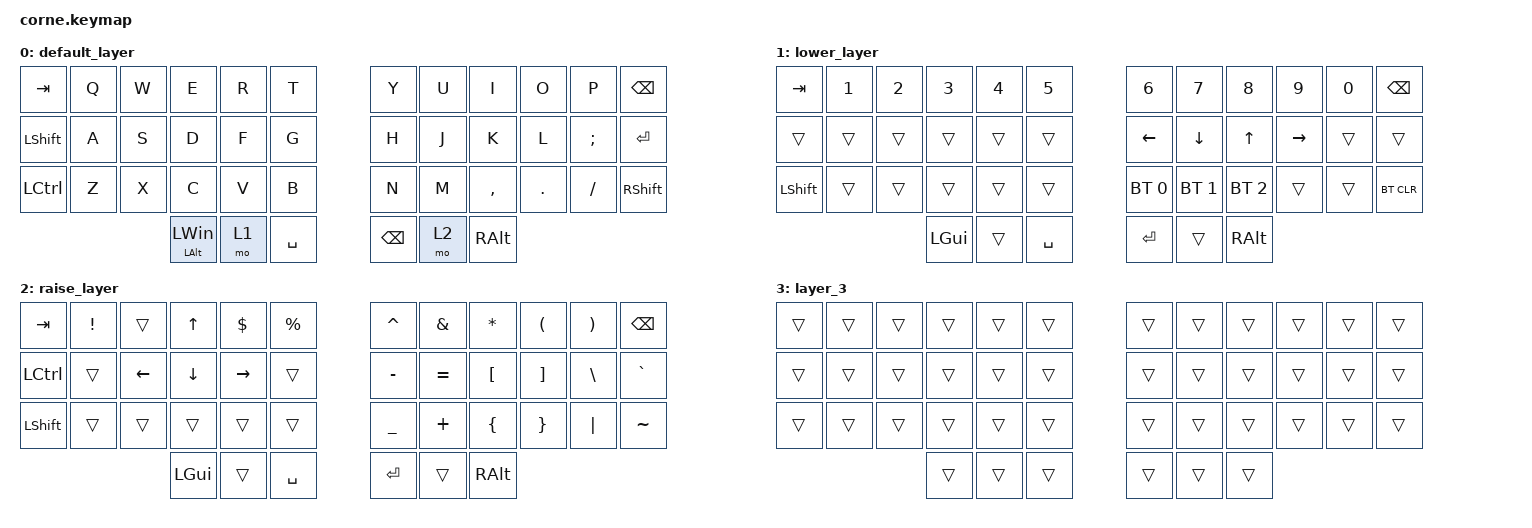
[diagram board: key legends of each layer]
/*
 * Copyright (c) 2020 The ZMK Contributors
 *
 * SPDX-License-Identifier: MIT
 */

#include <behaviors.dtsi>
#include <dt-bindings/zmk/bt.h>
#include <dt-bindings/zmk/keys.h>

/ {
    combos {
        compatible = "zmk,combos";

        Escape {
            bindings = <&kp ESC>;
            key-positions = <0 1>;
        };

        BootRight {
            bindings = <&bootloader>;
            key-positions = <11 23 35>;
        };

        BootLeft {
            bindings = <&bootloader>;
            key-positions = <0 12 24>;
        };
    };

    keymap {
        compatible = "zmk,keymap";

        default_layer {
            // -----------------------------------------------------------------------------------------
            // |  TAB |  Q  |  W  |  E  |  R  |  T  |   |  Y  |  U   |  I  |  O  |  P  | BSPC |
            // | CTRL |  A  |  S  |  D  |  F  |  G  |   |  H  |  J   |  K  |  L  |  ;  |  '   |
            // | SHFT |  Z  |  X  |  C  |  V  |  B  |   |  N  |  M   |  ,  |  .  |  /  | ESC  |
            //                    | GUI | LWR | SPC |   | ENT | RSE  | ALT |

            bindings = <
&kp TAB         &kp Q  &kp W  &kp E                  &kp R  &kp T        &kp Y          &kp U  &kp I      &kp O    &kp P          &kp BSPC
&kp LEFT_SHIFT  &kp A  &kp S  &kp D                  &kp F  &kp G        &kp H          &kp J  &kp K      &kp L    &kp SEMICOLON  &kp ENTER
&kp LCTRL       &kp Z  &kp X  &kp C                  &kp V  &kp B        &kp N          &kp M  &kp COMMA  &kp DOT  &kp FSLH       &kp RIGHT_SHIFT
                              &mt LEFT_ALT LEFT_WIN  &mo 1  &kp SPACE    &kp BACKSPACE  &mo 2  &kp RALT
            >;
        };

        lower_layer {
            // -----------------------------------------------------------------------------------------
            // |  TAB |  1  |  2  |  3  |  4  |  5  |   |  6  |  7  |  8  |  9  |  0  | BSPC |
            // | BTCLR| BT1 | BT2 | BT3 | BT4 | BT5 |   | LFT | DWN |  UP | RGT |     |      |
            // | SHFT |     |     |     |     |     |   |     |     |     |     |     |      |
            //                    | GUI |     | SPC |   | ENT |     | ALT |

            bindings = <
&kp TAB    &kp N1  &kp N2  &kp N3    &kp N4  &kp N5       &kp N6        &kp N7        &kp N8        &kp N9     &kp N0  &kp BSPC
&trans     &trans  &trans  &trans    &trans  &trans       &kp LEFT      &kp DOWN      &kp UP        &kp RIGHT  &trans  &trans
&kp LSHFT  &trans  &trans  &trans    &trans  &trans       &bt BT_SEL 0  &bt BT_SEL 1  &bt BT_SEL 2  &trans     &trans  &bt BT_CLR
                           &kp LGUI  &trans  &kp SPACE    &kp RET       &trans        &kp RALT
            >;
        };

        raise_layer {
            // -----------------------------------------------------------------------------------------
            // |  TAB |  !  |  @  |  #  |  $  |  %  |   |  ^  |  &  |  *  |  (  |  )  | BSPC |
            // | CTRL |     |     |     |     |     |   |  -  |  =  |  [  |  ]  |  \  |  `   |
            // | SHFT |     |     |     |     |     |   |  _  |  +  |  {  |  }  | "|" |  ~   |
            //                    | GUI |     | SPC |   | ENT |     | ALT |

            bindings = <
&kp TAB    &kp EXCL  &trans          &kp UP_ARROW    &kp DLLR         &kp PRCNT    &kp CARET  &kp AMPS   &kp ASTRK  &kp LPAR  &kp RPAR  &kp BSPC
&kp LCTRL  &trans    &kp LEFT_ARROW  &kp DOWN_ARROW  &kp RIGHT_ARROW  &trans       &kp MINUS  &kp EQUAL  &kp LBKT   &kp RBKT  &kp BSLH  &kp GRAVE
&kp LSHFT  &trans    &trans          &trans          &trans           &trans       &kp UNDER  &kp PLUS   &kp LBRC   &kp RBRC  &kp PIPE  &kp TILDE
                                     &kp LGUI        &trans           &kp SPACE    &kp RET    &trans     &kp RALT
            >;
        };

        layer_3 {
            bindings = <
&trans  &trans  &trans  &trans  &trans  &trans    &trans  &trans  &trans  &trans  &trans  &trans
&trans  &trans  &trans  &trans  &trans  &trans    &trans  &trans  &trans  &trans  &trans  &trans
&trans  &trans  &trans  &trans  &trans  &trans    &trans  &trans  &trans  &trans  &trans  &trans
                        &trans  &trans  &trans    &trans  &trans  &trans
            >;
        };
    };
};
